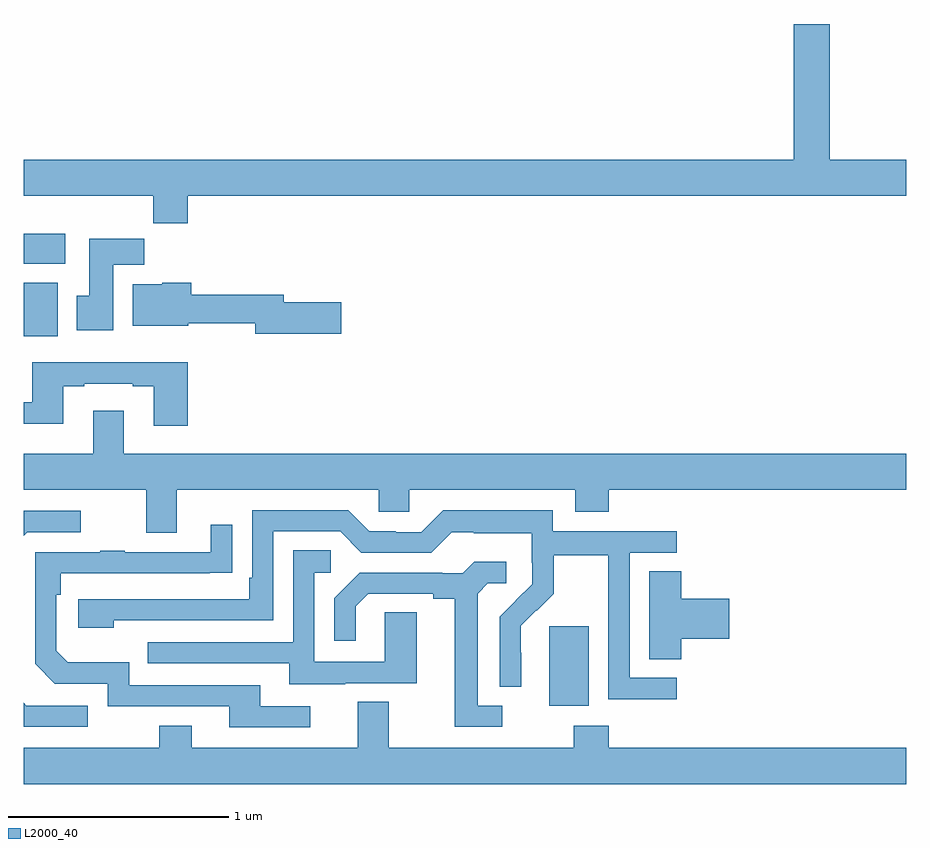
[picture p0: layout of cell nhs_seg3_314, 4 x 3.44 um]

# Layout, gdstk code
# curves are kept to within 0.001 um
import gdstk
lib = gdstk.Library(unit=1e-6, precision=1e-09)
def R(c, l, rs):  # rectangles x0, y0, x1, y1
    for r in rs: c.add(gdstk.rectangle(r[:2], r[2:], *l))
def P(c, l, *ps):  # polygons
    for p in ps: c.add(gdstk.Polygon(p, *l))
L2000_40 = (2000, 40)

nhs_seg3_314 = lib.new_cell('nhs_seg3_314')
R(nhs_seg3_314, L2000_40, [(127.382,745.226,127.561,745.587), (125,746.9,125.155,747.142), (125,747.23,125.188,747.364)])
P(nhs_seg3_314, L2000_40, [(125.744,747.536),(129,747.536),(129,747.7),(128.653,747.7),(128.653,748.315),(128.489,748.315),(128.489,747.7),(125,747.7),(125,747.536),(125.587,747.536),(125.587,747.412),(125.744,747.412)],
  [(125.407,747.224),(125.546,747.224),(125.546,747.343),(125.297,747.343),(125.297,747.084),(125.24,747.084),(125.24,746.928),(125.407,746.928)],
  [(126.439,747.054),(126.178,747.054),(126.178,747.088),(125.759,747.088),(125.759,747.142),(125.628,747.142),(125.628,747.136),(125.495,747.136),(125.495,746.948),(125.746,746.948),(125.746,746.959),(126.05,746.959),(126.05,746.912),(126.439,746.912)],
  [(125.744,746.782),(125.039,746.782),(125.039,746.601),(125,746.601),(125,746.504),(125.179,746.504),(125.179,746.673),(125.275,746.673),(125.275,746.685),(125.495,746.685),(125.495,746.673),(125.591,746.673),(125.591,746.496),(125.744,746.496)],
  [(125.695,746.204),(126.609,746.204),(126.609,746.106),(126.747,746.106),(126.747,746.204),(127.499,746.204),(127.499,746.105),(127.652,746.105),(127.652,746.204),(129,746.204),(129,746.368),(125.455,746.368),(125.455,746.563),(125.315,746.563),(125.315,746.368),(125,746.368),(125,746.204),(125.555,746.204),(125.555,746.01),(125.695,746.01)],
  [(127.96,745.353),(127.746,745.353),(127.746,745.92),(127.96,745.92),(127.96,746.016),(127.398,746.016),(127.398,746.113),(126.901,746.113),(126.801,746.013),(126.686,746.013),(126.686,746.016),(126.567,746.016),(126.471,746.112),(126.036,746.112),(126.036,745.807),(126.023,745.807),(126.023,745.71),(125.247,745.71),(125.247,745.58),(125.408,745.58),(125.408,745.614),(126.132,745.614),(126.132,746.016),(126.435,746.016),(126.531,745.92),(126.846,745.92),(126.939,746.013),(127.039,746.013),(127.039,746.009),(127.302,746.009),(127.302,745.875),(127.304,745.875),(127.304,745.778),(127.158,745.63),(127.158,745.312),(127.254,745.312),(127.253,745.589),(127.323,745.659),(127.326,745.656),(127.403,745.733),(127.403,745.908),(127.648,745.908),(127.648,745.684),(127.65,745.684),(127.65,745.255),(127.96,745.255)],
  [(125.016,746.013),(125.26,746.013),(125.26,746.109),(125,746.109),(125,745.997)],
  [(126.298,745.224),(126.073,745.224),(126.073,745.32),(125.478,745.32),(125.478,745.423),(125.201,745.423),(125.148,745.476),(125.148,745.73),(125.168,745.73),(125.168,745.827),(125.945,745.828),(125.945,746.047),(125.849,746.047),(125.849,745.923),(125.459,745.923),(125.459,745.928),(125.347,745.928),(125.347,745.923),(125.052,745.923),(125.052,745.416),(125.142,745.326),(125.382,745.326),(125.382,745.224),(125.933,745.224),(125.933,745.128),(126.298,745.128)],
  [(126.457,745.329),(126.781,745.329),(126.781,745.649),(126.636,745.649),(126.636,745.425),(126.318,745.425),(126.318,745.83),(126.391,745.83),(126.391,745.931),(126.222,745.931),(126.222,745.515),(125.563,745.515),(125.563,745.419),(126.203,745.419),(126.203,745.325),(126.457,745.325)],
  [(127.168,745.227),(127.057,745.227),(127.057,745.735),(127.104,745.782),(127.186,745.782),(127.186,745.879),(127.042,745.879),(126.99,745.827),(126.896,745.827),(126.896,745.83),(126.524,745.83),(126.408,745.714),(126.408,745.521),(126.505,745.521),(126.505,745.677),(126.562,745.734),(126.857,745.734),(126.857,745.712),(126.953,745.712),(126.953,745.131),(127.168,745.131)],
  [(127.979,745.529),(128.197,745.529),(128.197,745.712),(127.979,745.712),(127.979,745.835),(127.835,745.835),(127.835,745.438),(127.979,745.438)],
  [(129,745.036),(127.652,745.036),(127.652,745.135),(127.492,745.135),(127.492,745.036),(126.655,745.036),(126.655,745.244),(126.515,745.244),(126.515,745.036),(125.761,745.036),(125.761,745.135),(125.614,745.135),(125.614,745.036),(125,745.036),(125,744.872),(129,744.872)],
  [(125.29,745.227),(125.013,745.227),(125,745.24),(125,745.131),(125.29,745.131)])

lib.write_gds('nhs_seg3_314.gds')
